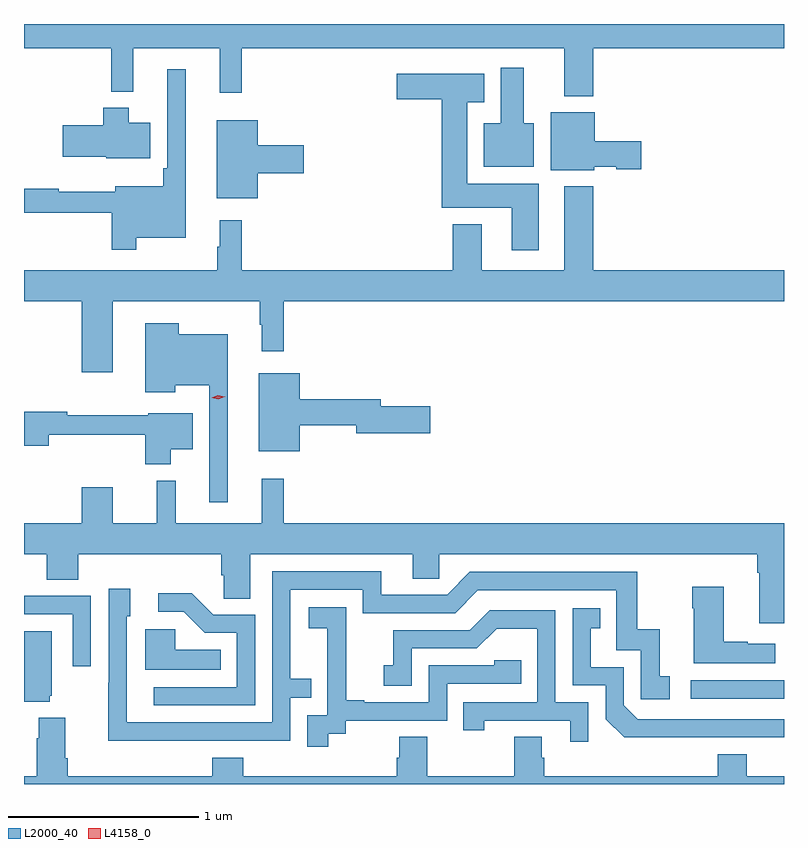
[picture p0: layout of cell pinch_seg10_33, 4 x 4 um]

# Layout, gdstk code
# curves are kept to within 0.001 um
import gdstk
lib = gdstk.Library(unit=1e-6, precision=1e-09)
def R(c, l, rs):  # rectangles x0, y0, x1, y1
    for r in rs: c.add(gdstk.rectangle(r[:2], r[2:], *l))
def P(c, l, *ps):  # polygons
    for p in ps: c.add(gdstk.Polygon(p, *l))
L2000_40 = (2000, 40)
L4158_0 = (4158, 0)

pinch_seg10_33 = lib.new_cell('pinch_seg10_33')
R(pinch_seg10_33, L2000_40, [(923.457,1311.546,923.949,1311.642)])
P(pinch_seg10_33, L2000_40, [(922.946,1314.968),(923.949,1314.968),(923.949,1315.096),(919.949,1315.096),(919.949,1314.968),(920.407,1314.968),(920.407,1314.74),(920.525,1314.74),(920.525,1314.968),(920.978,1314.968),(920.978,1314.735),(921.095,1314.735),(921.095,1314.968),(922.793,1314.968),(922.793,1314.716),(922.946,1314.716)],
  [(922.633,1314.574),(922.579,1314.574),(922.579,1314.865),(922.457,1314.865),(922.457,1314.574),(922.37,1314.574),(922.37,1314.344),(922.633,1314.344)],
  [(920.539,1313.972),(920.8,1313.972),(920.8,1314.859),(920.703,1314.859),(920.703,1314.337),(920.683,1314.337),(920.683,1314.241),(920.429,1314.241),(920.429,1314.212),(920.133,1314.212),(920.133,1314.23),(919.949,1314.23),(919.949,1314.102),(920.41,1314.102),(920.41,1313.907),(920.539,1313.907)],
  [(922.657,1314.256),(922.282,1314.256),(922.282,1314.683),(922.372,1314.683),(922.372,1314.835),(921.912,1314.835),(921.912,1314.701),(922.148,1314.701),(922.148,1314.128),(922.517,1314.128),(922.517,1313.904),(922.657,1313.904)],
  [(920.614,1314.577),(920.5,1314.577),(920.5,1314.655),(920.366,1314.655),(920.366,1314.564),(920.154,1314.564),(920.154,1314.398),(920.382,1314.398),(920.382,1314.389),(920.614,1314.389)],
  [(922.95,1314.344),(923.067,1314.344),(923.067,1314.332),(923.197,1314.332),(923.197,1314.479),(922.954,1314.479),(922.954,1314.631),(922.721,1314.631),(922.721,1314.326),(922.95,1314.326)],
  [(921.178,1314.311),(921.421,1314.311),(921.421,1314.458),(921.178,1314.458),(921.178,1314.589),(920.963,1314.589),(920.963,1314.179),(921.178,1314.179)],
  [(920.416,1313.636),(921.189,1313.636),(921.189,1313.513),(921.2,1313.513),(921.2,1313.373),(921.317,1313.373),(921.317,1313.636),(923.949,1313.636),(923.949,1313.8),(922.946,1313.8),(922.946,1314.241),(922.793,1314.241),(922.793,1313.8),(922.357,1313.8),(922.357,1314.043),(922.205,1314.043),(922.205,1313.8),(921.095,1313.8),(921.095,1314.064),(920.978,1314.064),(920.978,1313.924),(920.967,1313.924),(920.967,1313.8),(919.949,1313.8),(919.949,1313.636),(920.252,1313.636),(920.252,1313.262),(920.416,1313.262)],
  [(921.022,1313.464),(920.763,1313.464),(920.763,1313.521),(920.588,1313.521),(920.588,1313.159),(920.746,1313.159),(920.746,1313.195),(920.925,1313.195),(920.925,1312.578),(921.022,1312.578)],
  [(921.4,1312.984),(921.698,1312.984),(921.698,1312.942),(922.087,1312.942),(922.087,1313.084),(921.826,1313.084),(921.826,1313.12),(921.4,1313.12),(921.4,1313.257),(921.185,1313.257),(921.185,1312.847),(921.4,1312.847)],
  [(920.722,1312.859),(920.836,1312.859),(920.836,1313.047),(920.604,1313.047),(920.604,1313.037),(920.176,1313.037),(920.176,1313.054),(919.949,1313.054),(919.949,1312.876),(920.08,1312.876),(920.08,1312.933),(920.588,1312.933),(920.588,1312.778),(920.722,1312.778)],
  [(923.949,1312.468),(921.317,1312.468),(921.317,1312.702),(921.2,1312.702),(921.2,1312.468),(920.747,1312.468),(920.747,1312.693),(920.647,1312.693),(920.647,1312.468),(920.416,1312.468),(920.416,1312.657),(920.252,1312.657),(920.252,1312.468),(919.949,1312.468),(919.949,1312.304),(920.069,1312.304),(920.069,1312.171),(920.234,1312.171),(920.234,1312.304),(920.987,1312.304),(920.987,1312.195),(921,1312.195),(921,1312.072),(921.139,1312.072),(921.139,1312.304),(921.995,1312.304),(921.995,1312.177),(922.134,1312.177),(922.134,1312.304),(923.807,1312.304),(923.807,1312.208),(923.819,1312.208),(923.819,1311.942),(923.949,1311.942)],
  [(920.855,1311.324),(921.351,1311.324),(921.351,1311.549),(921.461,1311.549),(921.461,1311.65),(921.351,1311.65),(921.351,1312.119),(921.732,1312.119),(921.732,1311.996),(922.218,1311.996),(922.338,1312.116),(923.067,1312.116),(923.067,1311.801),(923.196,1311.801),(923.196,1311.543),(923.347,1311.543),(923.347,1311.663),(923.294,1311.663),(923.294,1311.91),(923.176,1311.91),(923.176,1312.212),(922.296,1312.212),(922.176,1312.092),(921.829,1312.092),(921.829,1312.215),(921.255,1312.215),(921.255,1311.42),(920.491,1311.42),(920.49,1311.978),(920.509,1311.978),(920.509,1312.123),(920.394,1312.123),(920.394,1311.629),(920.392,1311.629),(920.392,1311.323)],
  [(923.902,1311.835),(923.759,1311.835),(923.759,1311.845),(923.632,1311.845),(923.632,1312.135),(923.467,1312.135),(923.467,1312.022),(923.474,1312.022),(923.474,1311.731),(923.902,1311.731)],
  [(921.165,1311.987),(920.946,1311.987),(920.833,1312.1),(920.655,1312.1),(920.655,1312.002),(920.789,1312.002),(920.9,1311.891),(921.069,1311.891),(921.069,1311.606),(920.631,1311.606),(920.631,1311.51),(921.165,1311.51)],
  [(920.301,1312.086),(919.985,1312.086),(919.985,1312.088),(919.949,1312.088),(919.949,1311.99),(920.205,1311.99),(920.205,1311.717),(920.301,1311.717)],
  [(921.55,1311.361),(921.642,1311.361),(921.642,1311.429),(922.176,1311.429),(922.176,1311.624),(922.565,1311.624),(922.565,1311.747),(922.425,1311.747),(922.425,1311.72),(922.08,1311.72),(922.08,1311.525),(921.739,1311.525),(921.739,1311.538),(921.644,1311.538),(921.644,1311.821),(921.645,1311.821),(921.645,1312.027),(921.447,1312.027),(921.447,1311.917),(921.545,1311.917),(921.545,1311.689),(921.546,1311.689),(921.546,1311.459),(921.441,1311.459),(921.441,1311.291),(921.55,1311.291)],
  [(923.516,1311.342),(923.949,1311.342),(923.949,1311.438),(923.178,1311.438),(923.106,1311.51),(923.106,1311.711),(922.933,1311.711),(922.933,1311.915),(922.982,1311.915),(922.982,1312.021),(922.836,1312.021),(922.836,1311.615),(923.01,1311.615),(923.01,1311.438),(923.108,1311.341)],
  [(922.92,1311.525),(922.746,1311.525),(922.746,1312.011),(922.4,1312.011),(922.295,1311.906),(921.892,1311.906),(921.892,1311.721),(921.843,1311.721),(921.843,1311.612),(921.99,1311.612),(921.99,1311.81),(922.332,1311.81),(922.436,1311.914),(922.65,1311.914),(922.65,1311.525),(922.261,1311.525),(922.261,1311.378),(922.372,1311.378),(922.372,1311.429),(922.823,1311.429),(922.823,1311.318),(922.92,1311.318)],
  [(920.984,1311.802),(920.745,1311.802),(920.745,1311.91),(920.588,1311.91),(920.588,1311.698),(920.984,1311.698)],
  [(920.084,1311.561),(920.095,1311.561),(920.095,1311.901),(919.949,1311.901),(919.949,1311.53),(920.084,1311.53)],
  [(920.18,1311.232),(920.167,1311.232),(920.167,1311.445),(920.027,1311.445),(920.027,1311.338),(920.015,1311.338),(920.015,1311.136),(919.949,1311.136),(919.949,1311.096),(923.949,1311.096),(923.949,1311.136),(923.752,1311.136),(923.752,1311.253),(923.6,1311.253),(923.6,1311.136),(922.688,1311.136),(922.688,1311.234),(922.675,1311.234),(922.675,1311.344),(922.528,1311.344),(922.528,1311.136),(922.071,1311.136),(922.071,1311.344),(921.923,1311.344),(921.923,1311.234),(921.911,1311.234),(921.911,1311.136),(921.104,1311.136),(921.104,1311.235),(920.939,1311.235),(920.939,1311.136),(920.18,1311.136)])
P(pinch_seg10_33, L4158_0, [(920.972,1313.122),(920.936,1313.129),(920.935,1313.129),(920.936,1313.129),(920.97,1313.142),(921.006,1313.134),(921.007,1313.134),(921.006,1313.134)])

lib.write_gds('pinch_seg10_33.gds')
